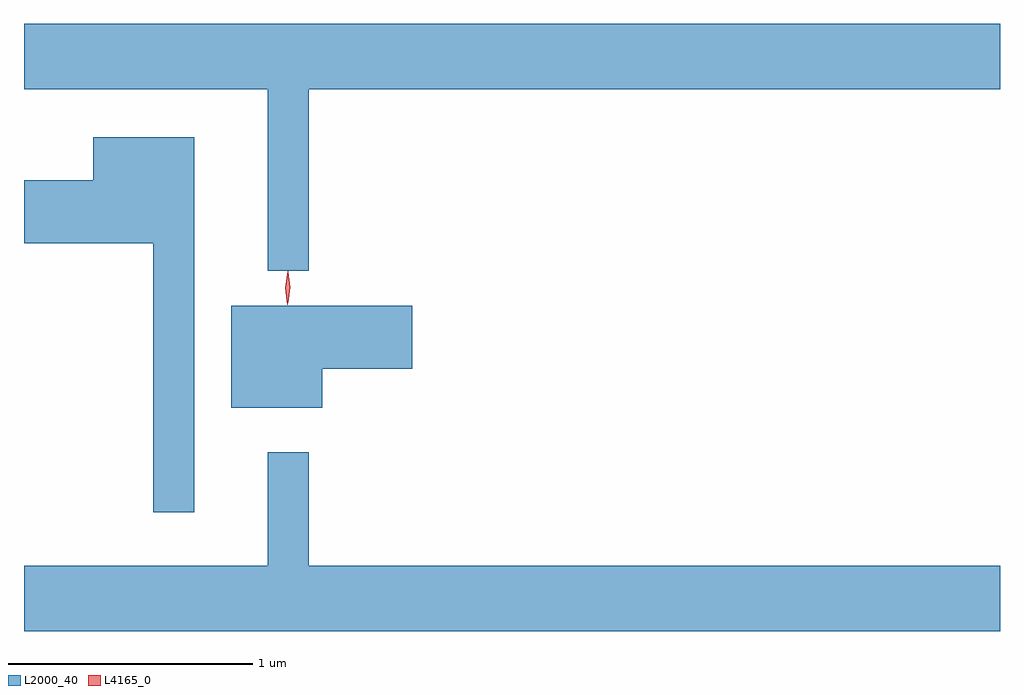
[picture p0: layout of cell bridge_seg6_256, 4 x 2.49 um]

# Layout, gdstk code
import gdstk
lib = gdstk.Library(unit=1e-6, precision=1e-09)
def P(c, l, *ps):  # polygons
    for p in ps: c.add(gdstk.Polygon(p, *l))
L2000_40 = (2000, 40)
L4165_0 = (4165, 0)

bridge_seg6_256 = lib.new_cell('bridge_seg6_256')
P(bridge_seg6_256, L2000_40, [(1244.352,1598.876),(1245.351,1598.876),(1245.351,1598.133),(1245.519,1598.133),(1245.519,1598.876),(1248.352,1598.876),(1248.352,1599.144),(1244.352,1599.144)],
  [(1245.049,1598.679),(1244.636,1598.679),(1244.636,1598.504),(1244.352,1598.504),(1244.352,1598.246),(1244.881,1598.246),(1244.881,1597.143),(1245.049,1597.143)],
  [(1245.574,1597.731),(1245.944,1597.731),(1245.944,1597.989),(1245.201,1597.989),(1245.201,1597.571),(1245.574,1597.571)],
  [(1248.352,1596.924),(1245.519,1596.924),(1245.519,1597.388),(1245.351,1597.388),(1245.351,1596.924),(1244.352,1596.924),(1244.352,1596.656),(1248.352,1596.656)])
P(bridge_seg6_256, L4165_0, [(1245.433,1598),(1245.432,1598.001),(1245.423,1598.064),(1245.432,1598.126),(1245.433,1598.127),(1245.434,1598.126),(1245.443,1598.064),(1245.434,1598.001)],
  [(1245.431,1597.994),(1245.431,1597.994),(1245.422,1598.062),(1245.432,1598.13),(1245.433,1598.13),(1245.434,1598.13),(1245.442,1598.062),(1245.432,1597.994)])

lib.write_gds('bridge_seg6_256.gds')
